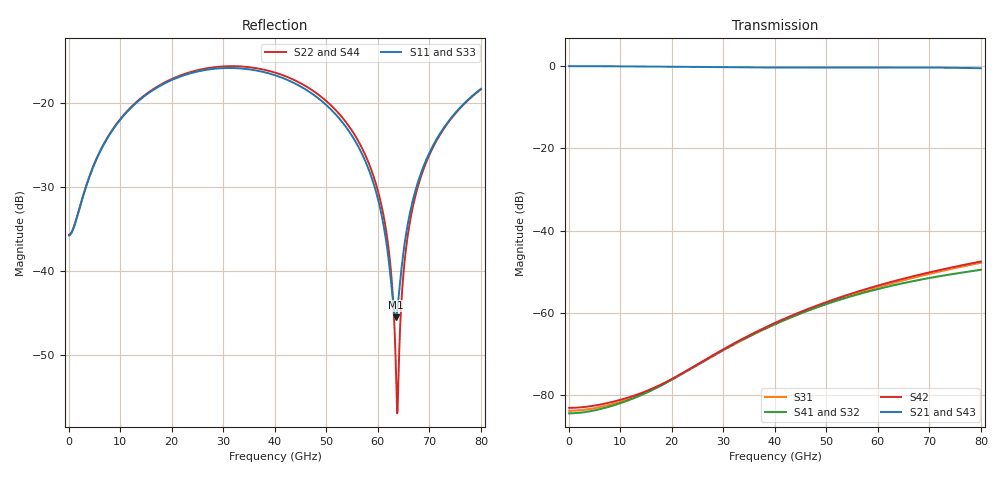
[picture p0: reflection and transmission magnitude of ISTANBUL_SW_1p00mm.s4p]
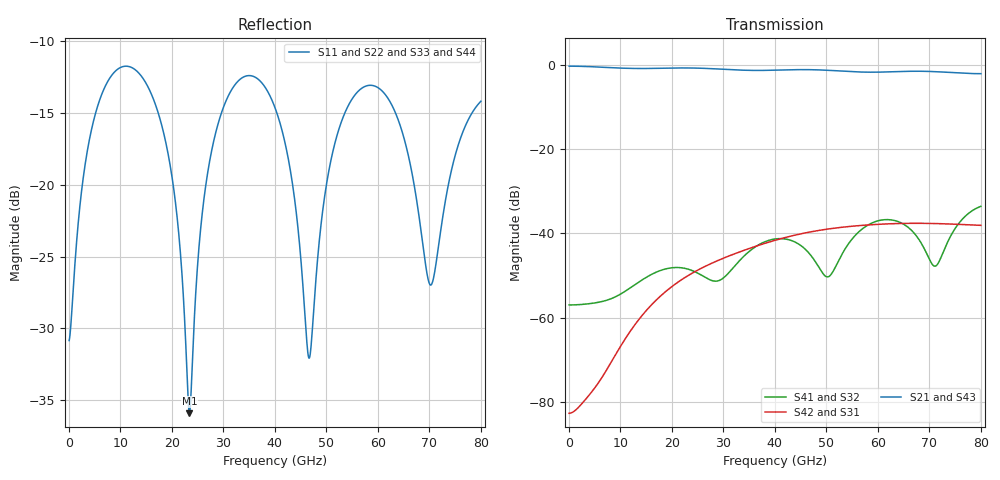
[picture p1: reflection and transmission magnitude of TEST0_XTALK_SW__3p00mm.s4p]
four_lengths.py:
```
"""Istanbul slow-wave pair (T period 200 um, line pitch 625 um): 3-D CST runs at
1, 3, 5 and 8.75 mm. Checks (symmetry, reciprocity), per-mode propagation
constants from every pair of lengths, mesh families, and length scaling of
NEXT / FEXT. Ports: 1 = A near, 2 = A far, 3 = B near, 4 = B far."""
import os, numpy as np
HERE = os.path.dirname(os.path.abspath(__file__))
C0 = 299792458.0
FILES = {1.0: "ISTANBUL_SW_1p00mm.s4p", 3.0: "TEST0_XTALK_SW__3p00mm.s4p",
         5.0: "TEST0_XTALK_SW_5mm.s4p", 8.75: "ISTANBUL_SW_8p75mm.s4p"}
R = 50.0
def rd(fn):
    toks = []
    for l in open(os.path.join(HERE, fn)):
        l = l.split('!')[0].strip()
        if not l or l.startswith('#'): continue
        toks += l.split()
    v = np.array(toks, float).reshape(-1, 33)
    return v[:, 0], (v[:, 1::2] * np.exp(1j * np.radians(v[:, 2::2]))).reshape(-1, 4, 4)
def modes(S):
    out = {}
    for m, sg in (("e", 1), ("o", -1)):
        out[m] = np.array([[S[:, 0, 0] + sg * S[:, 0, 2], S[:, 0, 1] + sg * S[:, 0, 3]],
                           [S[:, 1, 0] + sg * S[:, 1, 2], S[:, 1, 1] + sg * S[:, 1, 3]]]).transpose(2, 0, 1)
    return out
def s2t(s):
    s11, s12, s21, s22 = s[..., 0, 0], s[..., 0, 1], s[..., 1, 0], s[..., 1, 1]
    A = ((1 + s11) * (1 - s22) + s12 * s21) / (2 * s21); B = R * ((1 + s11) * (1 + s22) - s12 * s21) / (2 * s21)
    C = ((1 - s11) * (1 - s22) - s12 * s21) / (2 * s21) / R; D = ((1 - s11) * (1 + s22) + s12 * s21) / (2 * s21)
    return np.stack([np.stack([A, B], -1), np.stack([C, D], -1)], -2)
def gamma_pair(M, La, Lb, m):
    ev = np.linalg.eigvals(s2t(M[La][m]) @ np.linalg.inv(s2t(M[Lb][m])))
    e = np.where(abs(ev[:, 0]) > abs(ev[:, 1]), ev[:, 0], ev[:, 1])
    return (np.log(abs(e)) + 1j * np.unwrap(np.angle(e))) / ((La - Lb) * 1e-3)
f, _ = rd(FILES[1.0]); D = {L: rd(fn)[1] for L, fn in FILES.items()}; M = {L: modes(S) for L, S in D.items()}
k = 2 * np.pi * f * 1e9 / C0
if __name__ == "__main__":
    db = lambda x: 20 * np.log10(np.abs(x) + 1e-30)
    m = (f > 1) & (f < 75)
    print("checks: reciprocity max|S21-S12|/|S21|, A-B symmetry max|S21-S43|/|S21| (dB), |S11|-|S22| rms dB")
    for L, S in D.items():
        print(f"  {L:5.2f} mm  recip {np.max(abs(S[m,1,0]-S[m,0,1])/abs(S[m,1,0])):.1e}  AB {db(np.max(abs(S[m,1,0]-S[m,3,2]))):6.1f} dB"
              f"  S11-S22 {np.sqrt(np.mean((db(S[m,0,0])-db(S[m,1,1]))**2)):.2f} dB")
    pairs = [(5.0, 3.0), (8.75, 1.0), (3.0, 1.0), (5.0, 1.0), (8.75, 3.0), (8.75, 5.0)]
    G = {(p, md): gamma_pair(M, *p, md) for p in pairs for md in "eo"}
    np.savez(os.path.join(HERE, "four_lengths_gamma.npz"), f=f, **{f"{a}_{b}_{md}": G[((a, b), md)] for (a, b) in pairs for md in "eo"})
    print("\nn_even and dn = n_e - n_o (x1e3) from each pair of lengths")
    print("  pair      " + "".join(f"{x:>17.0f} GHz" for x in (10, 20, 30, 40, 50, 60, 70)))
    for p in pairs:
        row = ""
        for x in (10, 20, 30, 40, 50, 60, 70):
            i = np.argmin(abs(f - x)); ne = G[(p, "e")][i].imag / k[i]; dn = (G[(p, "e")][i].imag - G[(p, "o")][i].imag) / k[i]
            row += f"   {ne:.4f} / {dn*1e3:+6.2f}"
        print(f"  {p[0]:4.2f}-{p[1]:4.2f} {row}")
```
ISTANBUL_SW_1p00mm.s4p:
! TOUCHSTONE file generated by CST MICROWAVE STUDIO
! Date and time: Wed Oct 21 13:39:17 2026
! Project name: TEST0_XTALK_SW_1mm.cst
! Parameters = {L=1; L1=0.01; L2=0.076; PITCH=0.2; START_POSITION=0.075; W1=0.002; W2=0.022; gap=0.00415; interaxis=0.625; ln_thickness=0.000275; mtx=0.002; si_thickness=0.3; sio2_thickness=0.0047; w=1; wg=0.03; ws=0.01}
! Header version: 2024
! Port assignment regex: !\s*Touchstone port\s*([0-9]+)\s*=\s*(CST MWS port|CST DES external port|CST DES block port)\s*(.+)\s* \(\"(.*)\"\)(\s*mode\s*([0-9]+))?.*
! Touchstone port assignment:
! Touchstone port 1 = CST MWS port 1 ("")
! Touchstone port 2 = CST MWS port 2 ("")
! Touchstone port 3 = CST MWS port 3 ("")
! Touchstone port 4 = CST MWS port 4 ("")
# GHz S MA R 50
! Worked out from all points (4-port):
!   1000 points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, 80 MHz to 80 GHz, reference 50 ohm
!   strongest paths, dB at 80 MHz, 20.08 GHz, 40.08 GHz, 60.08 GHz, 80 GHz:
!     S21: -0.1, -0.3, -0.5, -0.4, -0.6
!     S43: -0.1, -0.3, -0.5, -0.4, -0.6
!     S42: -83.0, -75.9, -62.4, -53.3, -47.5
!     S41: -84.3, -76.1, -62.6, -54.2, -49.5
!     S32: -84.3, -76.1, -62.6, -54.2, -49.5
!     S31: -83.7, -76.1, -62.7, -53.7, -47.8
!   lowest |S11| = -45.5 dB at 63.44 GHz (marker M1), VSWR 1.01, Z = 50.5 + j0.0504 ohm
!   |S11| at or under -10 dB: start of sweep to end of sweep
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0.08  0.01632 2.1  0.9835 -0.2  6.532e-05 178.9  6.08e-05 -1.1
      0.9835 -0.2  0.01648 2.0  6.083e-05 -1.1  7.081e-05 178.9
      6.532e-05 178.9  6.083e-05 -1.1  0.01632 2.1  0.9835 -0.2
      6.08e-05 -1.1  7.081e-05 178.9  0.9835 -0.2  0.01648 2.0
63.44  0.005305 5.4  0.9501 -175.9  0.002356 -51.4  0.002196 127.5
       0.9501 -175.9  0.003063 -76.1  0.002196 127.5  0.002464 -50.1
       0.002356 -51.4  0.002196 127.5  0.005304 5.4  0.9501 -175.9
       0.002196 127.5  0.002464 -50.1  0.9501 -175.9  0.003063 -76.1
80  0.1222 54.5  0.9283 136.9  0.004067 -173.7  0.003344 -1.2
    0.9283 136.9  0.1214 31.7  0.003344 -1.1  0.004218 -171.9
    0.004067 -173.7  0.003344 -1.1  0.1222 54.5  0.9283 136.9
    0.003344 -1.2  0.004218 -171.9  0.9283 136.9  0.1214 31.7
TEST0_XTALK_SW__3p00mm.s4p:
! TOUCHSTONE file generated by CST MICROWAVE STUDIO
! Date and time: Thu Oct 22 15:25:15 2026
! Project name: TEST0_XTALK_SW_3mm.cst
! Parameters = {L=3; L1=0.01; L2=0.076; PITCH=0.2; START_POSITION=0.1; W1=0.002; W2=0.022; gap=0.00415; interaxis=0.625; ln_thickness=0.000275; mtx=0.002; si_thickness=0.3; sio2_thickness=0.0047; w=1; wg=0.03; ws=0.01}
! Header version: 2024
! Port assignment regex: !\s*Touchstone port\s*([0-9]+)\s*=\s*(CST MWS port|CST DES external port|CST DES block port)\s*(.+)\s* \(\"(.*)\"\)(\s*mode\s*([0-9]+))?.*
! Touchstone port assignment:
! Touchstone port 1 = CST MWS port 1 ("")
! Touchstone port 2 = CST MWS port 2 ("")
! Touchstone port 3 = CST MWS port 3 ("")
! Touchstone port 4 = CST MWS port 4 ("")
# GHz S MA R 50
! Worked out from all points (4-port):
!   1000 points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, 80 MHz to 80 GHz, reference 50 ohm
!   strongest paths, dB at 80 MHz, 20.08 GHz, 40.08 GHz, 60.08 GHz, 80 GHz:
!     S21: -0.3, -0.7, -1.2, -1.7, -2.0
!     S43: -0.3, -0.7, -1.2, -1.7, -2.0
!     S42: -82.7, -52.6, -41.6, -37.8, -38.1
!     S31: -82.7, -52.6, -41.6, -37.8, -38.1
!     S41: -57.0, -48.1, -41.3, -37.0, -33.6
!     S32: -57.0, -48.1, -41.3, -37.0, -33.6
!   lowest |S11| = -35.9 dB at 23.44 GHz (marker M1), VSWR 1.03, Z = 51.6 - j0.13 ohm
!   |S11| at or under -10 dB: start of sweep to end of sweep
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0.08  0.02868 5.3  0.9713 -0.6  7.33e-05 176.5  0.001416 -2.4
      0.9713 -0.6  0.02867 5.3  0.001416 -2.4  7.315e-05 176.5
      7.328e-05 176.5  0.001416 -2.4  0.02868 5.3  0.9713 -0.6
      0.001416 -2.4  7.314e-05 176.5  0.9713 -0.6  0.02868 5.3
23.44  0.01599 -4.5  0.9245 -178.5  0.003234 -38.0  0.003727 91.2
       0.9245 -178.5  0.01603 -4.6  0.003727 91.2  0.003234 -38.0
       0.003234 -38.0  0.003727 91.2  0.01599 -4.5  0.9245 -178.5
       0.003727 91.2  0.003234 -38.0  0.9245 -178.5  0.01603 -4.6
80  0.1957 11.8  0.791 116.2  0.0125 50.0  0.02101 36.5
    0.791 116.2  0.1956 11.8  0.02101 36.5  0.0125 50.0
    0.0125 50.0  0.02101 36.5  0.1957 11.8  0.7909 116.2
    0.02101 36.5  0.0125 50.0  0.7909 116.2  0.1956 11.8
